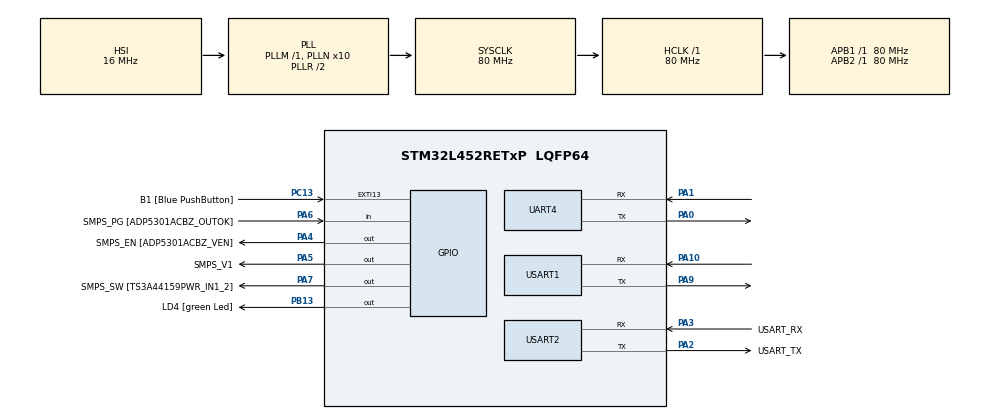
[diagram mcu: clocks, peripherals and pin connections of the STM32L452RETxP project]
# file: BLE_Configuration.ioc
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Mcu.Family=STM32L4
Mcu.Name=STM32L452RETxP
Mcu.Package=LQFP64
NVIC.PriorityGroup=NVIC_PRIORITYGROUP_4
NVIC.UART4_IRQn=true\:0\:0\:false\:false\:true\:true\:true\:true
NVIC.USART1_IRQn=true\:0\:0\:false\:false\:true\:true\:true\:true
NVIC.USART2_IRQn=true\:0\:0\:false\:false\:true\:true\:true\:true
PA0.Mode=Asynchronous
PA0.Signal=UART4_TX
PA1.Mode=Asynchronous
PA1.Signal=UART4_RX
PA10.Mode=Asynchronous
PA10.Signal=USART1_RX
PA13\ (JTMS/SWDIO).GPIO_Label=TMS
PA13\ (JTMS/SWDIO).Mode=Serial_Wire
PA13\ (JTMS/SWDIO).Signal=SYS_JTMS-SWDIO
PA14\ (JTCK/SWCLK).GPIO_Label=TCK
PA14\ (JTCK/SWCLK).Mode=Serial_Wire
PA14\ (JTCK/SWCLK).Signal=SYS_JTCK-SWCLK
PA2.GPIO_Label=USART_TX
PA2.GPIO_Mode=GPIO_MODE_AF_PP
PA2.GPIO_PuPd=GPIO_NOPULL
PA2.GPIO_Speed=GPIO_SPEED_FREQ_VERY_HIGH
PA2.Mode=Asynchronous
PA2.Signal=USART2_TX
PA3.GPIO_Label=USART_RX
PA3.GPIO_Mode=GPIO_MODE_AF_PP
PA3.GPIO_PuPd=GPIO_NOPULL
PA3.GPIO_Speed=GPIO_SPEED_FREQ_VERY_HIGH
PA3.Mode=Asynchronous
PA3.Signal=USART2_RX
PA4.GPIO_Label=SMPS_EN [ADP5301ACBZ_VEN]
PA4.Signal=GPIO_Output
PA5.GPIO_Label=SMPS_V1
PA5.GPIO_ModeDefaultOutputPP=GPIO_MODE_OUTPUT_PP
PA5.GPIO_PuPd=GPIO_NOPULL
PA5.GPIO_Speed=GPIO_SPEED_FREQ_LOW
PA5.Signal=GPIO_Output
PA6.GPIO_Label=SMPS_PG [ADP5301ACBZ_OUTOK]
PA6.GPIO_PuPd=GPIO_PULLUP
PA6.Signal=GPIO_Input
PA7.GPIO_Label=SMPS_SW [TS3A44159PWR_IN1_2]
PA7.Signal=GPIO_Output
PA9.Mode=Asynchronous
PA9.Signal=USART1_TX
PB13.GPIO_Label=LD4 [green Led]
PB13.Signal=GPIO_Output
PB3\ (JTDO/TRACESWO).GPIO_Label=SWO
PB3\ (JTDO/TRACESWO).Signal=SYS_JTDO-SWO
PC13.GPIO_Label=B1 [Blue PushButton]
PC13.GPIO_ModeDefaultEXTI=GPIO_MODE_IT_FALLING
PC13.GPIO_PuPd=GPIO_NOPULL
PC13.Signal=GPXTI13
PC14-OSC32_IN\ (PC14).Mode=LSE-External-Oscillator
PC14-OSC32_IN\ (PC14).Signal=RCC_OSC32_IN
PC15-OSC32_OUT\ (PC15).Mode=LSE-External-Oscillator
PC15-OSC32_OUT\ (PC15).Signal=RCC_OSC32_OUT
PH0-OSC_IN\ (PH0).GPIO_Label=MCO
PH0-OSC_IN\ (PH0).Mode=HSE-External-Clock-Source
PH0-OSC_IN\ (PH0).Signal=RCC_OSC_IN
PH1-OSC_OUT\ (PH1).Signal=RCC_OSC_OUT
ProjectManager.HeapSize=0x200
ProjectManager.StackSize=0x400
ProjectManager.TargetToolchain=STM32CubeIDE
RCC.ADCFreq_Value=64000000
RCC.AHBFreq_Value=80000000
RCC.APB1Freq_Value=80000000
RCC.APB1TimFreq_Value=80000000
RCC.APB2Freq_Value=80000000
RCC.APB2TimFreq_Value=80000000
RCC.CortexFreq_Value=80000000
RCC.HCLKFreq_Value=80000000
RCC.HSE_VALUE=8000000
RCC.HSI48_VALUE=48000000
RCC.HSI_VALUE=16000000
RCC.MSI_VALUE=4000000
RCC.PLLN=10
RCC.PLLSourceVirtual=RCC_PLLSOURCE_HSI
RCC.PREFETCH_ENABLE=1
RCC.SYSCLKFreq_VALUE=80000000
RCC.SYSCLKSource=RCC_SYSCLKSOURCE_PLLCLK
RCC.USBFreq_Value=64000000
RCC.VCOOutputFreq_Value=160000000
USART1.VirtualMode-Asynchronous=VM_ASYNC
USART2.VirtualMode-Asynchronous=VM_ASYNC
board=NUCLEO-L452RE-P

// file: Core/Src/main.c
/* USER CODE BEGIN Header */
/**
  ******************************************************************************
  * @file           : main.c
  * @brief          : Main program body
  ******************************************************************************
  * @attention
  *
  * Copyright (c) 2023 STMicroelectronics.
  * All rights reserved.
  *
  * This software is licensed under terms that can be found in the LICENSE file
  * in the root directory of this software component.
  * If no LICENSE file comes with this software, it is provided AS-IS.
  *
  ******************************************************************************
  */
/* USER CODE END Header */
#include "main.h"

/* USER CODE BEGIN Includes */
#include <stdio.h>
#include <string.h>
#include "stm32l4xx_hal.h"
/* USER CODE END Includes */

UART_HandleTypeDef huart4;
UART_HandleTypeDef huart1;
UART_HandleTypeDef huart2;

/* USER CODE BEGIN PV */
uint8_t rx_Slavebuff[20];
uint8_t rx_Tbuff[20];
uint8_t tx_buff[20];
uint8_t rx_Masterbuff[20];
uint8_t buff[20];
uint8_t buffCounter = 0;
uint8_t slaveCounter = 0;
uint8_t masterCounter = 0;
uint8_t slaveFlag = 0;
uint8_t masterFlag = 0;
uint8_t intLen = 0;

/* USER CODE END PV */

void SystemClock_Config(void);
static void MX_GPIO_Init(void);
static void MX_USART2_UART_Init(void);
static void MX_UART4_Init(void);
static void MX_USART1_UART_Init(void);

int main(void)
{

  /* MCU Configuration--------------------------------------------------------*/

  /* Reset of all peripherals, Initializes the Flash interface and the Systick. */
  HAL_Init();

  /* Configure the system clock */
  SystemClock_Config();

  /* Initialize all configured peripherals */
  MX_GPIO_Init();
  MX_USART2_UART_Init();
  MX_UART4_Init();
  MX_USART1_UART_Init();
  /* USER CODE BEGIN 2 */
  HAL_UART_Receive_IT(&huart4, rx_Slavebuff, 2);
  HAL_UART_Receive_IT(&huart2, rx_Tbuff, 1);
  printf("Press '!' to configure Slave Bluetooth\r\n");
  printf("Press '#' to configure M Bluetooth\r\n");
  /* USER CODE END 2 */

  /* Infinite loop */
  while (1)
  {
    /* USER CODE BEGIN 3 */
	 if (slaveFlag == 1){
		 switch(slaveCounter) {
		 case 0 :
			 char *atCmd1 = "AT";
			  HAL_UART_Transmit(&huart4, (uint8_t *)atCmd1, strlen(atCmd1), 100);
			  slaveCounter++;
			  break;
		  case 1 :
			  char *atCmd2 = "AT+ROLE0";
			  HAL_UART_Transmit(&huart4, (uint8_t *)atCmd2, strlen(atCmd2), 100);
			  slaveCounter++;
			  break;
		  case 2:
			  char *atCmd3 = "AT+TYPE0";
			  HAL_UART_Transmit(&huart4, (uint8_t *)atCmd3, strlen(atCmd3), 100);
			  slaveCounter++;
			  break;
		  case 3:
			  char *atCmd4 = "AT+ADDR?";
			  HAL_UART_Transmit(&huart4, (uint8_t *)atCmd4, strlen(atCmd4), 100);
			  slaveCounter++;
			  break;
		  case 4 :
			  char *atCmd5 = "AT+RESET";
			  HAL_UART_Transmit(&huart4, (uint8_t *)atCmd5, strlen(atCmd5), 100);
			  slaveCounter++;
			  slaveFlag = 0;
			  break;
		  case 5 :
			  slaveCounter = 0;
			 break;
		 }
	  }
	 else if (masterFlag == 1){
		  switch(masterCounter) {
			  case 0 :
				  char *atCmd1 = "AT";
				  HAL_UART_Transmit(&huart4, (uint8_t *)atCmd1, strlen(atCmd1), 100);
				  masterCounter++;
				  break;
			  case 1 :
				  char *atCmd2 = "AT+ROLE1";
				  HAL_UART_Transmit(&huart4, (uint8_t *) atCmd2, strlen(atCmd2), 100);
				  masterCounter++;
				  break;
			  case 2:
				  char *atCmd3 = "AT+TYPE0";
				  HAL_UART_Transmit(&huart4, (uint8_t *) atCmd3, strlen(atCmd3), 100);
				  masterCounter++;
				  break;
			  case 3:
				  char *atCmd4 = "AT+IMME1";
				  HAL_UART_Transmit(&huart4, (uint8_t *) atCmd4, strlen(atCmd4), 100);
				  masterCounter++;
				  break;
			  case 4 :
				  char *atCmd5 = "AT+RESET";
				  HAL_UART_Transmit(&huart4, (uint8_t *) atCmd5, strlen(atCmd5), 100);
				  masterCounter++;
				  masterFlag = 0;
				  break;
			  case 5 :
				  masterCounter = 0;
				 break;
			   }
	 }
	  HAL_Delay(2000);
  }

  /* USER CODE END 3 */
}

void SystemClock_Config(void)
{
  RCC_OscInitTypeDef RCC_OscInitStruct = {0};
  RCC_ClkInitTypeDef RCC_ClkInitStruct = {0};

  /** Configure the main internal regulator output voltage
  */
  if (HAL_PWREx_ControlVoltageScaling(PWR_REGULATOR_VOLTAGE_SCALE1) != HAL_OK)
  {
    Error_Handler();
  }

  /** Initializes the RCC Oscillators according to the specified parameters
  * in the RCC_OscInitTypeDef structure.
  */
  RCC_OscInitStruct.OscillatorType = RCC_OSCILLATORTYPE_HSI;
  RCC_OscInitStruct.HSIState = RCC_HSI_ON;
  RCC_OscInitStruct.HSICalibrationValue = RCC_HSICALIBRATION_DEFAULT;
  RCC_OscInitStruct.PLL.PLLState = RCC_PLL_ON;
  RCC_OscInitStruct.PLL.PLLSource = RCC_PLLSOURCE_HSI;
  RCC_OscInitStruct.PLL.PLLM = 1;
  RCC_OscInitStruct.PLL.PLLN = 10;
  RCC_OscInitStruct.PLL.PLLP = RCC_PLLP_DIV7;
  RCC_OscInitStruct.PLL.PLLQ = RCC_PLLQ_DIV2;
  RCC_OscInitStruct.PLL.PLLR = RCC_PLLR_DIV2;
  if (HAL_RCC_OscConfig(&RCC_OscInitStruct) != HAL_OK)
  {
    Error_Handler();
  }

  /** Initializes the CPU, AHB and APB buses clocks
  */
  RCC_ClkInitStruct.ClockType = RCC_CLOCKTYPE_HCLK|RCC_CLOCKTYPE_SYSCLK
                              |RCC_CLOCKTYPE_PCLK1|RCC_CLOCKTYPE_PCLK2;
  RCC_ClkInitStruct.SYSCLKSource = RCC_SYSCLKSOURCE_PLLCLK;
  RCC_ClkInitStruct.AHBCLKDivider = RCC_SYSCLK_DIV1;
  RCC_ClkInitStruct.APB1CLKDivider = RCC_HCLK_DIV1;
  RCC_ClkInitStruct.APB2CLKDivider = RCC_HCLK_DIV1;

  if (HAL_RCC_ClockConfig(&RCC_ClkInitStruct, FLASH_LATENCY_4) != HAL_OK)
  {
    Error_Handler();
  }
}

static void MX_UART4_Init(void)
{

  huart4.Instance = UART4;
  huart4.Init.BaudRate = 9600;
  huart4.Init.WordLength = UART_WORDLENGTH_8B;
  huart4.Init.StopBits = UART_STOPBITS_1;
  huart4.Init.Parity = UART_PARITY_NONE;
  huart4.Init.Mode = UART_MODE_TX_RX;
  huart4.Init.HwFlowCtl = UART_HWCONTROL_NONE;
  huart4.Init.OverSampling = UART_OVERSAMPLING_16;
  huart4.Init.OneBitSampling = UART_ONE_BIT_SAMPLE_DISABLE;
  huart4.AdvancedInit.AdvFeatureInit = UART_ADVFEATURE_NO_INIT;
  if (HAL_UART_Init(&huart4) != HAL_OK)
  {
    Error_Handler();
  }

}

static void MX_USART1_UART_Init(void)
{

  huart1.Instance = USART1;
  huart1.Init.BaudRate = 9600;
  huart1.Init.WordLength = UART_WORDLENGTH_8B;
  huart1.Init.StopBits = UART_STOPBITS_1;
  huart1.Init.Parity = UART_PARITY_NONE;
  huart1.Init.Mode = UART_MODE_TX_RX;
  huart1.Init.HwFlowCtl = UART_HWCONTROL_NONE;
  huart1.Init.OverSampling = UART_OVERSAMPLING_16;
  huart1.Init.OneBitSampling = UART_ONE_BIT_SAMPLE_DISABLE;
  huart1.AdvancedInit.AdvFeatureInit = UART_ADVFEATURE_NO_INIT;
  if (HAL_UART_Init(&huart1) != HAL_OK)
  {
    Error_Handler();
  }

}

static void MX_USART2_UART_Init(void)
{

  huart2.Instance = USART2;
  huart2.Init.BaudRate = 115200;
  huart2.Init.WordLength = UART_WORDLENGTH_8B;
  huart2.Init.StopBits = UART_STOPBITS_1;
  huart2.Init.Parity = UART_PARITY_NONE;
  huart2.Init.Mode = UART_MODE_TX_RX;
  huart2.Init.HwFlowCtl = UART_HWCONTROL_NONE;
  huart2.Init.OverSampling = UART_OVERSAMPLING_16;
  huart2.Init.OneBitSampling = UART_ONE_BIT_SAMPLE_DISABLE;
  huart2.AdvancedInit.AdvFeatureInit = UART_ADVFEATURE_NO_INIT;
  if (HAL_UART_Init(&huart2) != HAL_OK)
  {
    Error_Handler();
  }

}

static void MX_GPIO_Init(void)
{
  GPIO_InitTypeDef GPIO_InitStruct = {0};

  /* GPIO Ports Clock Enable */
  __HAL_RCC_GPIOC_CLK_ENABLE();
  __HAL_RCC_GPIOH_CLK_ENABLE();
  __HAL_RCC_GPIOA_CLK_ENABLE();
  __HAL_RCC_GPIOB_CLK_ENABLE();

  /*Configure GPIO pin Output Level */
  HAL_GPIO_WritePin(GPIOA, SMPS_EN_Pin|SMPS_V1_Pin|SMPS_SW_Pin, GPIO_PIN_RESET);

  /*Configure GPIO pin Output Level */
  HAL_GPIO_WritePin(LD4_GPIO_Port, LD4_Pin, GPIO_PIN_RESET);

  /*Configure GPIO pin : B1_Pin */
  GPIO_InitStruct.Pin = B1_Pin;
  GPIO_InitStruct.Mode = GPIO_MODE_IT_FALLING;
  GPIO_InitStruct.Pull = GPIO_NOPULL;
  HAL_GPIO_Init(B1_GPIO_Port, &GPIO_InitStruct);

  /*Configure GPIO pins : SMPS_EN_Pin SMPS_V1_Pin SMPS_SW_Pin */
  GPIO_InitStruct.Pin = SMPS_EN_Pin|SMPS_V1_Pin|SMPS_SW_Pin;
  GPIO_InitStruct.Mode = GPIO_MODE_OUTPUT_PP;
  GPIO_InitStruct.Pull = GPIO_NOPULL;
  GPIO_InitStruct.Speed = GPIO_SPEED_FREQ_LOW;
  HAL_GPIO_Init(GPIOA, &GPIO_InitStruct);

  /*Configure GPIO pin : SMPS_PG_Pin */
  GPIO_InitStruct.Pin = SMPS_PG_Pin;
  GPIO_InitStruct.Mode = GPIO_MODE_INPUT;
  GPIO_InitStruct.Pull = GPIO_PULLUP;
  HAL_GPIO_Init(SMPS_PG_GPIO_Port, &GPIO_InitStruct);

  /*Configure GPIO pin : LD4_Pin */
  GPIO_InitStruct.Pin = LD4_Pin;
  GPIO_InitStruct.Mode = GPIO_MODE_OUTPUT_PP;
  GPIO_InitStruct.Pull = GPIO_NOPULL;
  GPIO_InitStruct.Speed = GPIO_SPEED_FREQ_LOW;
  HAL_GPIO_Init(LD4_GPIO_Port, &GPIO_InitStruct);

}

/* USER CODE BEGIN 4 */
void HAL_UART_RxCpltCallback(UART_HandleTypeDef *huart)
{
//	uint8_t *atCmd1;

	if (huart == &huart2){
		HAL_UART_Transmit(&huart2, rx_Tbuff, 1, 10);
		HAL_UART_Receive_IT(&huart2, rx_Tbuff, 1);
		HAL_UART_Receive_IT(&huart4, rx_Slavebuff, 2);

		tx_buff[buffCounter] = rx_Tbuff[0];
		if (rx_Tbuff[0]=='\r'){
			printf("\n\r");
			HAL_UART_Transmit(&huart4, tx_buff, buffCounter, 100);
			buffCounter = 0;
		}
		else if (rx_Tbuff[0]=='!'){
			slaveFlag = 1;
			buffCounter = 0;
		}
		else if (rx_Tbuff[0]=='#'){
			masterFlag = 1;
			buffCounter = 0;
		}
		else{
			buffCounter++;
		}

	}
	else{
		if (slaveFlag == 1 ){
			if (intLen == 0){ //AT
				HAL_UART_Receive_IT(&huart4, rx_Slavebuff, 8);
			}
			else if (intLen == 1 || intLen == 3 ){
				HAL_UART_Receive_IT(&huart4, rx_Slavebuff, 8);
			}
			else if (intLen == 2){
				HAL_UART_Receive_IT(&huart4, rx_Slavebuff, 20);
			}
			else if (intLen == 4){
				intLen = 0;
			}
		}
		else if (masterFlag == 1){
			HAL_UART_Receive_IT(&huart4, rx_Slavebuff, 2);

		}
		printf("BLE Response: %s \r\n", rx_Slavebuff);
		memset(rx_Slavebuff, '\0', 20);
		intLen++;

	}
}

#ifdef __GNUC__
  /* With GCC, small printf (option LD Linker->Libraries->Small printf
     set to 'Yes') calls __io_putchar() */
int __io_putchar(int ch)
#else
int fputc(int ch, FILE *f)
#endif /* __GNUC__ */
{
  /* Place your implementation of fputc here */
  /* e.g. write a character to the UART3 and Loop until the end of transmission */
  HAL_UART_Transmit(&huart2, (uint8_t *)&ch, 1, HAL_MAX_DELAY);
  return ch;
}
/* USER CODE END 4 */

void Error_Handler(void)
{
  __disable_irq();
  while (1)
  {
  }
}
